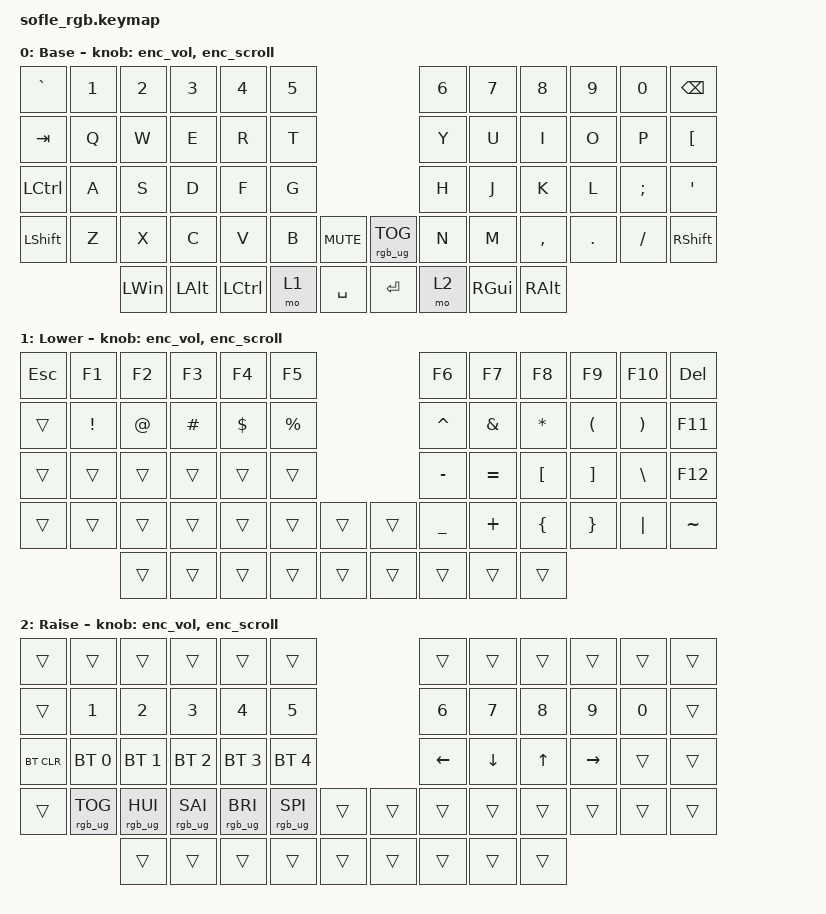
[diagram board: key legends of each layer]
/*
 * Copyright (c) 2020 The ZMK Contributors
 *
 * SPDX-License-Identifier: MIT
 */

#include <behaviors.dtsi>
#include <dt-bindings/zmk/bt.h>
#include <dt-bindings/zmk/keys.h>
#include <dt-bindings/zmk/rgb.h>

/ {
    // Кастомные behaviors для энкодеров

    behaviors {
        enc_vol: encoder_volume {
            compatible = "zmk,behavior-sensor-rotate";
            label = "ENCODER_VOLUME";
            #sensor-binding-cells = <0>;
            bindings = <&kp C_VOL_UP>, <&kp C_VOL_DN>;
        };

        enc_scroll: encoder_scroll {
            compatible = "zmk,behavior-sensor-rotate";
            label = "ENCODER_SCROLL";
            #sensor-binding-cells = <0>;
            bindings = <&kp PG_UP>, <&kp PG_DN>;
        };
    };

    // Комбо для переключения языка (E+R = Alt+Shift)

    combos {
        compatible = "zmk,combos";

        combo_lang_switch {
            timeout-ms = <50>;
            key-positions = <3 4>;  // E и R на QWERTY раскладке
            bindings = <&kp LA(LSHFT)>;
        };
    };

    keymap {
        compatible = "zmk,keymap";

        // Слой 0: Основной (QWERTY/ЙЦУКЕН)

        default_layer {
            bindings = <
&kp GRAVE  &kp N1  &kp N2    &kp N3        &kp N4            &kp N5                               &kp N6  &kp N7    &kp N8     &kp N9   &kp N0    &kp BSPC
&kp TAB    &kp Q   &kp W     &kp E         &kp R             &kp T                                &kp Y   &kp U     &kp I      &kp O    &kp P     &kp LEFT_BRACKET
&kp LCTRL  &kp A   &kp S     &kp D         &kp F             &kp G                                &kp H   &kp J     &kp K      &kp L    &kp SEMI  &kp SQT
&kp LSHFT  &kp Z   &kp X     &kp C         &kp V             &kp B   &kp C_MUTE  &rgb_ug RGB_TOG  &kp N   &kp M     &kp COMMA  &kp DOT  &kp FSLH  &kp RSHFT
                   &kp LWIN  &kp LEFT_ALT  &kp LEFT_CONTROL  &mo 1   &kp SPACE   &kp RET          &mo 2   &kp RGUI  &kp RALT
            >;

            display-name = "Base";

            // Левый энкодер: громкость, Правый энкодер: прокрутка

            sensor-bindings = <&enc_vol &enc_scroll>;
        };

        // Слой 1: Lower (Символы и F-клавиши)

        lower_layer {
            bindings = <
&kp ESC  &kp F1    &kp F2  &kp F3    &kp F4    &kp F5                     &kp F6     &kp F7     &kp F8    &kp F9    &kp F10   &kp DEL
&trans   &kp EXCL  &kp AT  &kp HASH  &kp DLLR  &kp PRCNT                  &kp CARET  &kp AMPS   &kp STAR  &kp LPAR  &kp RPAR  &kp F11
&trans   &trans    &trans  &trans    &trans    &trans                     &kp MINUS  &kp EQUAL  &kp LBKT  &kp RBKT  &kp BSLH  &kp F12
&trans   &trans    &trans  &trans    &trans    &trans     &trans  &trans  &kp UNDER  &kp PLUS   &kp LBRC  &kp RBRC  &kp PIPE  &kp TILDE
                   &trans  &trans    &trans    &trans     &trans  &trans  &trans     &trans     &trans
            >;

            display-name = "Lower";
            sensor-bindings = <&enc_vol &enc_scroll>;
        };

        // Слой 2: Raise (Навигация, Bluetooth, RGB)

        raise_layer {
            bindings = <
&trans      &trans           &trans           &trans           &trans           &trans                           &trans    &trans    &trans  &trans     &trans  &trans
&trans      &kp N1           &kp N2           &kp N3           &kp N4           &kp N5                           &kp N6    &kp N7    &kp N8  &kp N9     &kp N0  &trans
&bt BT_CLR  &bt BT_SEL 0     &bt BT_SEL 1     &bt BT_SEL 2     &bt BT_SEL 3     &bt BT_SEL 4                     &kp LEFT  &kp DOWN  &kp UP  &kp RIGHT  &trans  &trans
&trans      &rgb_ug RGB_TOG  &rgb_ug RGB_HUI  &rgb_ug RGB_SAI  &rgb_ug RGB_BRI  &rgb_ug RGB_SPI  &trans  &trans  &trans    &trans    &trans  &trans     &trans  &trans
                             &trans           &trans           &trans           &trans           &trans  &trans  &trans    &trans    &trans
            >;

            display-name = "Raise";
            sensor-bindings = <&enc_vol &enc_scroll>;
        };
    };
};
